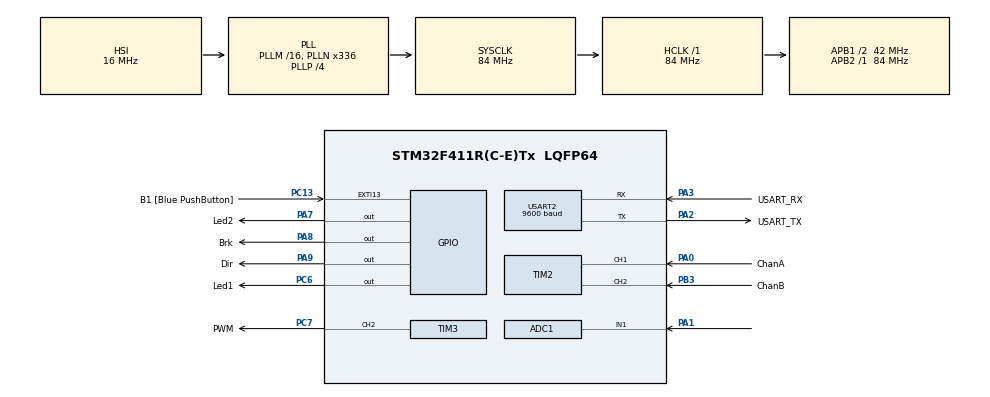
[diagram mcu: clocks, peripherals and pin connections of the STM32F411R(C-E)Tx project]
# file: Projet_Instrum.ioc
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Mcu.Family=STM32F4
RCC.CortexFreq_Value=84000000
PA14.GPIO_Label=TCK
PC6.GPIO_Label=Led1
RCC.SYSCLKSource=RCC_SYSCLKSOURCE_PLLCLK
ProjectManager.StackSize=0x400
VP_FREERTOS_VS_CMSIS_V2.Mode=CMSIS_V2
PH0\ -\ OSC_IN.Signal=RCC_OSC_IN
RCC.HCLKFreq_Value=84000000
RCC.APB2TimFreq_Value=84000000
TIM3.Period=200
PC7.Signal=S_TIM3_CH2
RCC.AHBFreq_Value=84000000
ADC1.Channel-0\#ChannelRegularConversion=ADC_CHANNEL_1
RCC.HSE_VALUE=8000000
PC13-ANTI_TAMP.Signal=GPXTI13
PC14-OSC32_IN.Mode=LSE-External-Oscillator
PA14.Mode=Serial_Wire
TIM3.Prescaler=80
PA8.Signal=GPIO_Output
ADC1.SamplingTime-0\#ChannelRegularConversion=ADC_SAMPLETIME_3CYCLES
RCC.FLatency-AdvancedSettings=FLASH_LATENCY_2
Mcu.Package=LQFP64
NVIC.TimeBase=TIM1_UP_TIM10_IRQn
USART2.VirtualMode=VM_ASYNC
PA2.GPIO_Label=USART_TX
NVIC.TimeBaseIP=TIM10
SH.ADCx_IN1.0=ADC1_IN1,IN1
RCC.APB1TimFreq_Value=84000000
TIM3.Pulse-PWM\ Generation2\ CH2=200
PA3.Signal=USART2_RX
PB3.GPIO_Label=ChanB
PC15-OSC32_OUT.Mode=LSE-External-Oscillator
FREERTOS.Tasks01=MotorControl,24,128,MotorControlMeth,Default,NULL,Dynamic,NULL,NULL;DataToIhm,40,128,DataToIhmMeth,Default,NULL,Dynamic,NULL,NULL
ADC1.Rank-0\#ChannelRegularConversion=1
PC13-ANTI_TAMP.GPIO_Label=B1 [Blue PushButton]
PA9.GPIO_Label=Dir
PH1\ -\ OSC_OUT.Mode=HSE-External-Clock-Source
PC6.Signal=GPIO_Output
RCC.APB1CLKDivider=RCC_HCLK_DIV2
PC14-OSC32_IN.Signal=RCC_OSC32_IN
NVIC.USART2_IRQn=true\:5\:0\:false\:false\:true\:true\:true\:true
USART2.BaudRate=9600
PA0-WKUP.GPIO_Label=ChanA
PA0-WKUP.Signal=S_TIM2_CH1_ETR
PA13.Signal=SYS_JTMS-SWDIO
PA3.Mode=Asynchronous
SH.S_TIM2_CH2.0=TIM2_CH2,Encoder_Interface
PH0\ -\ OSC_IN.Mode=HSE-External-Clock-Source
PA8.GPIO_Label=Brk
VP_SYS_VS_tim10.Mode=TIM10
ProjectManager.TargetToolchain=STM32CubeIDE
PA9.Signal=GPIO_Output
PC15-OSC32_OUT.Signal=RCC_OSC32_OUT
PA1.Signal=ADCx_IN1
SH.S_TIM3_CH2.0=TIM3_CH2,PWM Generation2 CH2
PH1\ -\ OSC_OUT.Signal=RCC_OSC_OUT
board=NUCLEO-F411RE
RCC.VCOOutputFreq_Value=336000000
RCC.APB2Freq_Value=84000000
PA13.Mode=Serial_Wire
Mcu.Name=STM32F411R(C-E)Tx
PA13.GPIO_Label=TMS
PA2.Signal=USART2_TX
PC7.GPIO_Label=PWM
RCC.48MHZClocksFreq_Value=84000000
PB3.Signal=S_TIM2_CH2
RCC.SYSCLKFreq_VALUE=84000000
PA7.GPIO_Label=Led2
ADC1.master=1
PC13-ANTI_TAMP.GPIO_ModeDefaultEXTI=GPIO_MODE_IT_FALLING
SH.S_TIM2_CH1_ETR.0=TIM2_CH1,Encoder_Interface
PA14.Signal=SYS_JTCK-SWCLK
ProjectManager.HeapSize=0x200
NVIC.TIM1_UP_TIM10_IRQn=true\:0\:0\:false\:false\:true\:false\:false\:true
RCC.HSI_VALUE=16000000
RCC.PLLP=RCC_PLLP_DIV4
NVIC.PriorityGroup=NVIC_PRIORITYGROUP_4
ADC1.NbrOfConversionFlag=1
TIM3.Channel-PWM\ Generation2\ CH2=TIM_CHANNEL_2
RCC.PLLN=336
PA2.Mode=Asynchronous
RCC.APB1Freq_Value=42000000
PA3.GPIO_Label=USART_RX
PA7.Signal=GPIO_Output

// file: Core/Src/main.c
/* USER CODE BEGIN Header */
/**
  ******************************************************************************
  * @file           : main.c
  * @brief          : Main program body
  ******************************************************************************
  * @attention
  *
  * <h2><center>&copy; Copyright (c) 2021 STMicroelectronics.
  * All rights reserved.</center></h2>
  *
  * This software component is licensed by ST under BSD 3-Clause license,
  * the "License"; You may not use this file except in compliance with the
  * License. You may obtain a copy of the License at:
  *                        opensource.org/licenses/BSD-3-Clause
  *
  ******************************************************************************
  */
/* USER CODE END Header */
#include "main.h"
#include "cmsis_os.h"

ADC_HandleTypeDef hadc1;

TIM_HandleTypeDef htim2;
TIM_HandleTypeDef htim3;

UART_HandleTypeDef huart2;

/* Definitions for MotorControl */
osThreadId_t MotorControlHandle;
const osThreadAttr_t MotorControl_attributes = {
  .name = "MotorControl",
  .stack_size = 128 * 4,
  .priority = (osPriority_t) osPriorityNormal,
};
/* Definitions for DataToIhm */
osThreadId_t DataToIhmHandle;
const osThreadAttr_t DataToIhm_attributes = {
  .name = "DataToIhm",
  .stack_size = 128 * 4,
  .priority = (osPriority_t) osPriorityHigh,
};

void SystemClock_Config(void);
static void MX_GPIO_Init(void);
static void MX_USART2_UART_Init(void);
static void MX_TIM2_Init(void);
static void MX_TIM3_Init(void);
static void MX_ADC1_Init(void);
void MotorControlMeth(void *argument);
void DataToIhmMeth(void *argument);

/* USER CODE BEGIN 0 */
//Data sent to IHM

uint8_t txdata[30];

//Prop Correcteur
#define Kp 0.01
#define tau 50.0
#define Te 5.0
#define Ti (0.1/tau)
#define Ki (Te/Ti)

/* USER CODE END 0 */

int main(void)
{

  /* MCU Configuration--------------------------------------------------------*/

  /* Reset of all peripherals, Initializes the Flash interface and the Systick. */
  HAL_Init();

  /* Configure the system clock */
  SystemClock_Config();

  /* Initialize all configured peripherals */
  MX_GPIO_Init();
  MX_USART2_UART_Init();
  MX_TIM2_Init();
  MX_TIM3_Init();
  MX_ADC1_Init();
  /* USER CODE BEGIN 2 */

  HAL_TIM_PWM_Start(&htim3, TIM_CHANNEL_2);
  HAL_UART_Init(&huart2);

  HAL_TIM_Encoder_Start(&htim2, TIM_CHANNEL_ALL);

  /* USER CODE END 2 */

  /* Init scheduler */
  osKernelInitialize();

  /* Create the thread(s) */
  /* creation of MotorControl */
  MotorControlHandle = osThreadNew(MotorControlMeth, NULL, &MotorControl_attributes);

  /* creation of DataToIhm */
  DataToIhmHandle = osThreadNew(DataToIhmMeth, NULL, &DataToIhm_attributes);

  /* Start scheduler */
  osKernelStart();

  /* We should never get here as control is now taken by the scheduler */
  /* Infinite loop */
  while (1)
  {

  }
}

void SystemClock_Config(void)
{
  RCC_OscInitTypeDef RCC_OscInitStruct = {0};
  RCC_ClkInitTypeDef RCC_ClkInitStruct = {0};

  /** Configure the main internal regulator output voltage
  */
  __HAL_RCC_PWR_CLK_ENABLE();
  __HAL_PWR_VOLTAGESCALING_CONFIG(PWR_REGULATOR_VOLTAGE_SCALE1);
  /** Initializes the RCC Oscillators according to the specified parameters
  * in the RCC_OscInitTypeDef structure.
  */
  RCC_OscInitStruct.OscillatorType = RCC_OSCILLATORTYPE_HSI;
  RCC_OscInitStruct.HSIState = RCC_HSI_ON;
  RCC_OscInitStruct.HSICalibrationValue = RCC_HSICALIBRATION_DEFAULT;
  RCC_OscInitStruct.PLL.PLLState = RCC_PLL_ON;
  RCC_OscInitStruct.PLL.PLLSource = RCC_PLLSOURCE_HSI;
  RCC_OscInitStruct.PLL.PLLM = 16;
  RCC_OscInitStruct.PLL.PLLN = 336;
  RCC_OscInitStruct.PLL.PLLP = RCC_PLLP_DIV4;
  RCC_OscInitStruct.PLL.PLLQ = 4;
  if (HAL_RCC_OscConfig(&RCC_OscInitStruct) != HAL_OK)
  {
    Error_Handler();
  }
  /** Initializes the CPU, AHB and APB buses clocks
  */
  RCC_ClkInitStruct.ClockType = RCC_CLOCKTYPE_HCLK|RCC_CLOCKTYPE_SYSCLK
                              |RCC_CLOCKTYPE_PCLK1|RCC_CLOCKTYPE_PCLK2;
  RCC_ClkInitStruct.SYSCLKSource = RCC_SYSCLKSOURCE_PLLCLK;
  RCC_ClkInitStruct.AHBCLKDivider = RCC_SYSCLK_DIV1;
  RCC_ClkInitStruct.APB1CLKDivider = RCC_HCLK_DIV2;
  RCC_ClkInitStruct.APB2CLKDivider = RCC_HCLK_DIV1;

  if (HAL_RCC_ClockConfig(&RCC_ClkInitStruct, FLASH_LATENCY_2) != HAL_OK)
  {
    Error_Handler();
  }
}

static void MX_ADC1_Init(void)
{

  ADC_ChannelConfTypeDef sConfig = {0};

  /** Configure the global features of the ADC (Clock, Resolution, Data Alignment and number of conversion)
  */
  hadc1.Instance = ADC1;
  hadc1.Init.ClockPrescaler = ADC_CLOCK_SYNC_PCLK_DIV4;
  hadc1.Init.Resolution = ADC_RESOLUTION_12B;
  hadc1.Init.ScanConvMode = DISABLE;
  hadc1.Init.ContinuousConvMode = DISABLE;
  hadc1.Init.DiscontinuousConvMode = DISABLE;
  hadc1.Init.ExternalTrigConvEdge = ADC_EXTERNALTRIGCONVEDGE_NONE;
  hadc1.Init.ExternalTrigConv = ADC_SOFTWARE_START;
  hadc1.Init.DataAlign = ADC_DATAALIGN_RIGHT;
  hadc1.Init.NbrOfConversion = 1;
  hadc1.Init.DMAContinuousRequests = DISABLE;
  hadc1.Init.EOCSelection = ADC_EOC_SINGLE_CONV;
  if (HAL_ADC_Init(&hadc1) != HAL_OK)
  {
    Error_Handler();
  }
  /** Configure for the selected ADC regular channel its corresponding rank in the sequencer and its sample time.
  */
  sConfig.Channel = ADC_CHANNEL_1;
  sConfig.Rank = 1;
  sConfig.SamplingTime = ADC_SAMPLETIME_3CYCLES;
  if (HAL_ADC_ConfigChannel(&hadc1, &sConfig) != HAL_OK)
  {
    Error_Handler();
  }

}

static void MX_TIM2_Init(void)
{

  TIM_Encoder_InitTypeDef sConfig = {0};
  TIM_MasterConfigTypeDef sMasterConfig = {0};

  htim2.Instance = TIM2;
  htim2.Init.Prescaler = 0;
  htim2.Init.CounterMode = TIM_COUNTERMODE_UP;
  htim2.Init.Period = 4294967295;
  htim2.Init.ClockDivision = TIM_CLOCKDIVISION_DIV1;
  htim2.Init.AutoReloadPreload = TIM_AUTORELOAD_PRELOAD_DISABLE;
  sConfig.EncoderMode = TIM_ENCODERMODE_TI1;
  sConfig.IC1Polarity = TIM_ICPOLARITY_RISING;
  sConfig.IC1Selection = TIM_ICSELECTION_DIRECTTI;
  sConfig.IC1Prescaler = TIM_ICPSC_DIV1;
  sConfig.IC1Filter = 0;
  sConfig.IC2Polarity = TIM_ICPOLARITY_RISING;
  sConfig.IC2Selection = TIM_ICSELECTION_DIRECTTI;
  sConfig.IC2Prescaler = TIM_ICPSC_DIV1;
  sConfig.IC2Filter = 0;
  if (HAL_TIM_Encoder_Init(&htim2, &sConfig) != HAL_OK)
  {
    Error_Handler();
  }
  sMasterConfig.MasterOutputTrigger = TIM_TRGO_RESET;
  sMasterConfig.MasterSlaveMode = TIM_MASTERSLAVEMODE_DISABLE;
  if (HAL_TIMEx_MasterConfigSynchronization(&htim2, &sMasterConfig) != HAL_OK)
  {
    Error_Handler();
  }

}

static void MX_TIM3_Init(void)
{

  TIM_MasterConfigTypeDef sMasterConfig = {0};
  TIM_OC_InitTypeDef sConfigOC = {0};

  htim3.Instance = TIM3;
  htim3.Init.Prescaler = 80;
  htim3.Init.CounterMode = TIM_COUNTERMODE_UP;
  htim3.Init.Period = 200;
  htim3.Init.ClockDivision = TIM_CLOCKDIVISION_DIV1;
  htim3.Init.AutoReloadPreload = TIM_AUTORELOAD_PRELOAD_DISABLE;
  if (HAL_TIM_PWM_Init(&htim3) != HAL_OK)
  {
    Error_Handler();
  }
  sMasterConfig.MasterOutputTrigger = TIM_TRGO_RESET;
  sMasterConfig.MasterSlaveMode = TIM_MASTERSLAVEMODE_DISABLE;
  if (HAL_TIMEx_MasterConfigSynchronization(&htim3, &sMasterConfig) != HAL_OK)
  {
    Error_Handler();
  }
  sConfigOC.OCMode = TIM_OCMODE_PWM1;
  sConfigOC.Pulse = 200;
  sConfigOC.OCPolarity = TIM_OCPOLARITY_HIGH;
  sConfigOC.OCFastMode = TIM_OCFAST_DISABLE;
  if (HAL_TIM_PWM_ConfigChannel(&htim3, &sConfigOC, TIM_CHANNEL_2) != HAL_OK)
  {
    Error_Handler();
  }
  HAL_TIM_MspPostInit(&htim3);

}

static void MX_USART2_UART_Init(void)
{

  huart2.Instance = USART2;
  huart2.Init.BaudRate = 9600;
  huart2.Init.WordLength = UART_WORDLENGTH_8B;
  huart2.Init.StopBits = UART_STOPBITS_1;
  huart2.Init.Parity = UART_PARITY_NONE;
  huart2.Init.Mode = UART_MODE_TX_RX;
  huart2.Init.HwFlowCtl = UART_HWCONTROL_NONE;
  huart2.Init.OverSampling = UART_OVERSAMPLING_16;
  if (HAL_UART_Init(&huart2) != HAL_OK)
  {
    Error_Handler();
  }

}

static void MX_GPIO_Init(void)
{
  GPIO_InitTypeDef GPIO_InitStruct = {0};

  /* GPIO Ports Clock Enable */
  __HAL_RCC_GPIOC_CLK_ENABLE();
  __HAL_RCC_GPIOH_CLK_ENABLE();
  __HAL_RCC_GPIOA_CLK_ENABLE();
  __HAL_RCC_GPIOB_CLK_ENABLE();

  /*Configure GPIO pin Output Level */
  HAL_GPIO_WritePin(GPIOA, Led2_Pin|Brk_Pin|Dir_Pin, GPIO_PIN_RESET);

  /*Configure GPIO pin Output Level */
  HAL_GPIO_WritePin(Led1_GPIO_Port, Led1_Pin, GPIO_PIN_RESET);

  /*Configure GPIO pin : B1_Pin */
  GPIO_InitStruct.Pin = B1_Pin;
  GPIO_InitStruct.Mode = GPIO_MODE_IT_FALLING;
  GPIO_InitStruct.Pull = GPIO_NOPULL;
  HAL_GPIO_Init(B1_GPIO_Port, &GPIO_InitStruct);

  /*Configure GPIO pins : Led2_Pin Brk_Pin Dir_Pin */
  GPIO_InitStruct.Pin = Led2_Pin|Brk_Pin|Dir_Pin;
  GPIO_InitStruct.Mode = GPIO_MODE_OUTPUT_PP;
  GPIO_InitStruct.Pull = GPIO_NOPULL;
  GPIO_InitStruct.Speed = GPIO_SPEED_FREQ_LOW;
  HAL_GPIO_Init(GPIOA, &GPIO_InitStruct);

  /*Configure GPIO pin : Led1_Pin */
  GPIO_InitStruct.Pin = Led1_Pin;
  GPIO_InitStruct.Mode = GPIO_MODE_OUTPUT_PP;
  GPIO_InitStruct.Pull = GPIO_NOPULL;
  GPIO_InitStruct.Speed = GPIO_SPEED_FREQ_LOW;
  HAL_GPIO_Init(Led1_GPIO_Port, &GPIO_InitStruct);

}

void MotorControlMeth(void *argument)
{
  /* USER CODE BEGIN 5 */
	/*
	int i = 0;
	int speed;
	float up;
	float ui = 0.0;
	int err;

	//Infinite loop
	for(;;)
	{
		//speed = Vitesse moteur avec encodeur
		err = 1000 - speed; //1000 : vitesse qu'on veut => via IHM
		up = Kp*err;
		ui = ui + Kp*Ki;
	}
	*/
	int i = 1;
		/* Infinite loop */
		for(;;)
		{
			if (i==20){
				i=0;
			}
			__HAL_TIM_SET_COMPARE(&htim3, TIM_CHANNEL_2, i*10);
			i++;
			osDelay(100);
		}
  /* USER CODE END 5 */
}

void DataToIhmMeth(void *argument)
{
  /* USER CODE BEGIN DataToIhmMeth */
  /* Infinite loop */
	uint32_t i = 400;
	uint32_t z = 0;
	uint32_t e = 245;
	uint8_t stop[2] = "\n";

	for(;;)
	{
		itoa(i, txdata, 10);
		HAL_UART_Transmit(&huart2, txdata, sizeof(txdata), 100);
		itoa(z, txdata, 10);
		HAL_UART_Transmit(&huart2, txdata, sizeof(txdata), 100);
		itoa(e, txdata, 10);
		HAL_UART_Transmit(&huart2, txdata, sizeof(txdata), 100);

		HAL_UART_Transmit(&huart2, stop, sizeof(stop), 100);
		if (i > 1000){
			i=0;
		} else {
			i+=100;
		}

		if (z > 1000){
			z=0;
		} else {
			z+=100;
		}

		if (e > 1000){
			e=0;
		} else {
			e+=100;
		}
		osDelay(1500);
	}
  /* USER CODE END DataToIhmMeth */
}

 /**
  * @brief  Period elapsed callback in non blocking mode
  * @note   This function is called  when TIM10 interrupt took place, inside
  * HAL_TIM_IRQHandler(). It makes a direct call to HAL_IncTick() to increment
  * a global variable "uwTick" used as application time base.
  * @param  htim : TIM handle
  * @retval None
  */
void HAL_TIM_PeriodElapsedCallback(TIM_HandleTypeDef *htim)
{
  if (htim->Instance == TIM10) {
    HAL_IncTick();
  }
}

void Error_Handler(void)
{
  __disable_irq();
  while (1)
  {
  }
}

/************************ (C) COPYRIGHT STMicroelectronics *****END OF FILE****/
